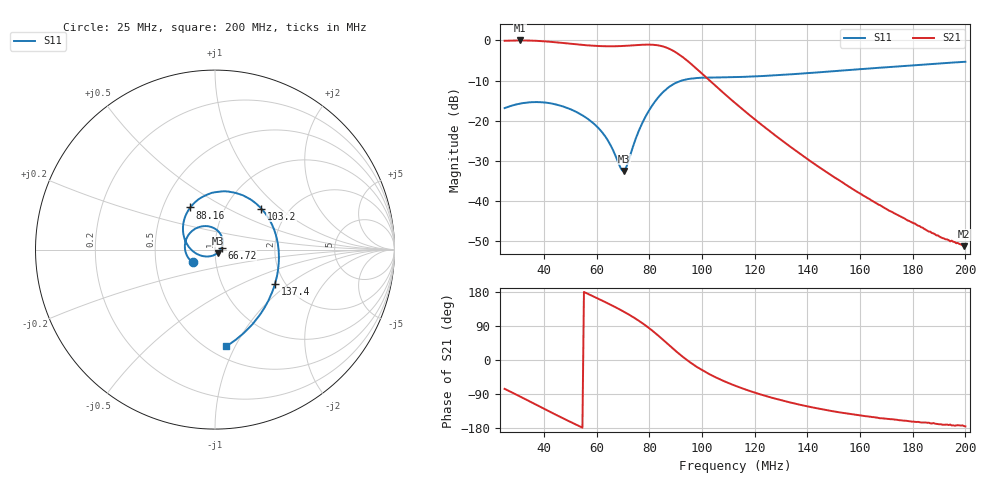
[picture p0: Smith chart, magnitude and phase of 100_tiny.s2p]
# Hz S RI R 50
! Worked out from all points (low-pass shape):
!   303 points, 25 MHz to 200 MHz, reference 50 ohm
!   highest |S21| = -0.01 dB at 30.79 MHz (marker M1); lowest = -51.3 dB at 199.4 MHz (marker M2)
!   |S21| within 3 dB of the highest: start of sweep to 90.12 MHz
!   lowest |S11| = -32.5 dB at 70.2 MHz (marker M3), VSWR 1.05, Z = 51.4 - j1.95 ohm
!   |S11| at or under -10 dB: start of sweep to 92.25 MHz
!   S12 and S22 are empty: the file has one direction only
!   S11 on the Smith chart (normalised r, x): 25 MHz: 0.77, -0.11; 66.72 MHz: 1.08, +0.03; 88.16 MHz: 0.69, +0.35; 103.2 MHz: 1.46, +0.76; 137.4 MHz: 1.77, -0.80; 200 MHz: 0.60, -0.92
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2.5e7  -0.1246 -0.0709  0.2371 -0.9612  0 0  0 0
3.07947e7  -0.1616 -0.0209  -0.1054 -0.9932  0 0  0 0
3.65894e7  -0.164 0.0462  -0.4436 -0.8852  0 0  0 0
4.3543e7  -0.1164 0.1124  -0.7444 -0.5976  0 0  0 0
4.87582e7  -0.0601 0.1309  -0.8577 -0.3258  0 0  0 0
5.45529e7  -0.000338 0.1164  -0.8785 -0.0225  0 0  0 0
6.2086e7  0.0423 0.0574  -0.7783 0.3363  0 0  0 0
6.67218e7  0.0374 0.0117  -0.6542 0.5358  0 0  0 0
7.01986e7  0.0141 -0.019  -0.5233 0.674  0 0  0 0
7.77317e7  -0.0965 -0.0263  -0.0788 0.8806  0 0  0 0
8.06291e7  -0.1464 0.0157  0.1532 0.872  0 0  0 0
8.352647e7  -0.177 0.0896  0.3876 0.7734  0 0  0 0
8.816217e7  -0.1376 0.2351  0.6295 0.4405  0 0  0 0
9.105957e7  -0.0576 0.2999  0.6429 0.2031  0 0  0 0
9.511587e7  0.0736 0.3235  0.5317 -0.0419  0 0  0 0
1.032284e8  0.2586 0.2279  0.2395 -0.1941  0 0  0 0
1.125e8  0.3388 0.0828  0.063 -0.1538  0 0  0 0
1.374172e8  0.3334 -0.1936  -0.0182 -0.0335  0 0  0 0
1.420529e8  0.3203 -0.232  -0.0172 -0.0243  0 0  0 0
1.710263e8  0.2075 -0.4172  -0.00687 -0.00312  0 0  0 0
1.994203e8  0.0641 -0.5366  -0.00271 -0.000275  0 0  0 0
1.999998e8  0.0608 -0.5385  -0.00273 -0.00023  0 0  0 0
